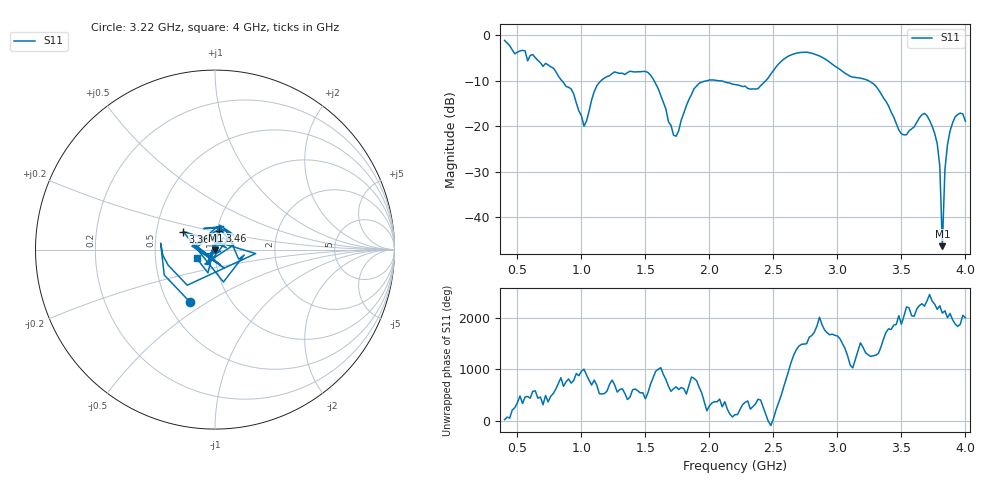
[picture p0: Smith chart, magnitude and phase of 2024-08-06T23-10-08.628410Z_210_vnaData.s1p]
!Created with skrf (http://scikit-rf.org).
# Hz S RI R 50.0
!freq ReS11 ImS11
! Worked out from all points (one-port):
!   181 points, 400 MHz to 4 GHz, reference 50 ohm
!   lowest |S11| = -46.4 dB at 3.82 GHz (marker M1), VSWR 1.01, Z = 50.2 - j0.435 ohm
!   |S11| at or under -10 dB: 1.567 GHz to 1.987 GHz (420 MHz wide, 23.6 % of centre); 2.058 GHz to 2.442 GHz (384.1 MHz wide, 17.1 % of centre); 3.24 GHz to end of sweep (the widest 3 of 4)
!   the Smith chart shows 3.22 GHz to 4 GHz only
!   S11 on the Smith chart (normalised r, x): 3.22 GHz: 0.65, -0.43; 3.36 GHz: 0.69, +0.14; 3.46 GHz: 1.03, +0.22; 4 GHz: 0.81, -0.08
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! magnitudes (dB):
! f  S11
! 400 MHz  -1.2
! 860 MHz  -10.4
! 940 MHz  -13.0
! 1.02 GHz  -20.0
! 1.12 GHz  -11.2
! 1.3 GHz  -8.4
! 1.52 GHz  -8.2
! 1.6 GHz  -11.8
! 1.72 GHz  -22.0
! 1.76 GHz  -21.0
! 1.92 GHz  -10.6
! 2.2 GHz  -10.9
! 2.38 GHz  -11.8
! 2.66 GHz  -4.1
! 2.86 GHz  -4.6
! 3.1 GHz  -9.1
! 3.22 GHz  -9.8
! 3.36 GHz  -13.8
! 3.46 GHz  -19.4
! 3.56 GHz  -21.1
! 3.68 GHz  -17.2
! 3.76 GHz  -21.6
! 3.8 GHz  -28.8
! 3.82 GHz  -46.4
! 3.84 GHz  -29.6
! 3.86 GHz  -24.1
! 3.92 GHz  -18.0
! 4 GHz  -18.9
